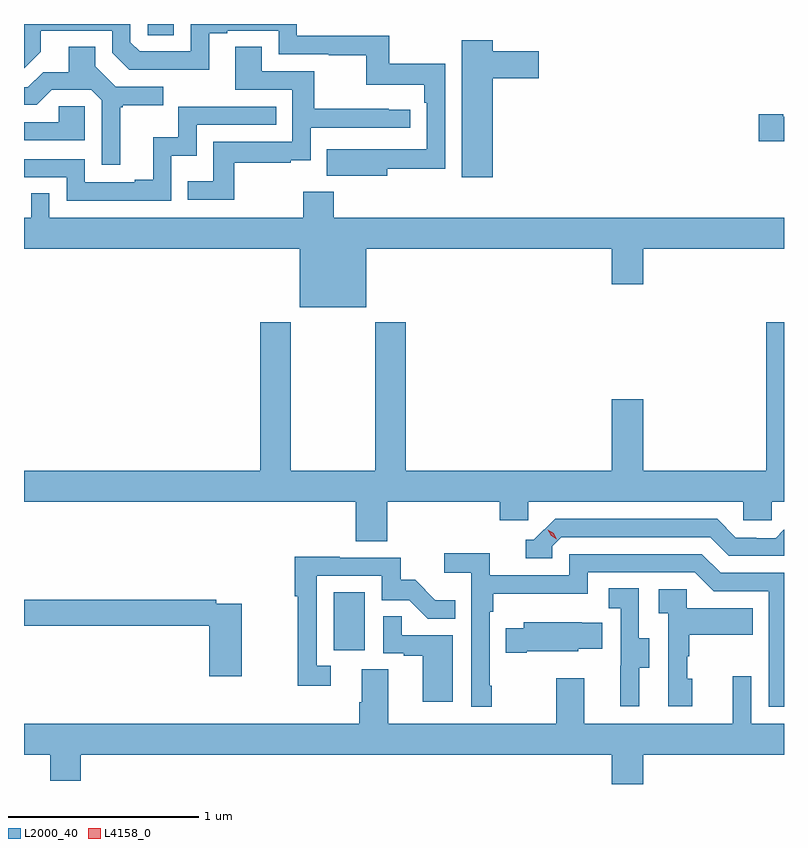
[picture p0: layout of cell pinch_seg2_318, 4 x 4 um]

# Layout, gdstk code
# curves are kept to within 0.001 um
import gdstk
lib = gdstk.Library(unit=1e-6, precision=1e-09)
def R(c, l, rs):  # rectangles x0, y0, x1, y1
    for r in rs: c.add(gdstk.rectangle(r[:2], r[2:], *l))
def P(c, l, *ps):  # polygons
    for p in ps: c.add(gdstk.Polygon(p, *l))
L2000_40 = (2000, 40)
L4158_0 = (4158, 0)

pinch_seg2_318 = lib.new_cell('pinch_seg2_318')
R(pinch_seg2_318, L2000_40, [(906.8,628.206,906.964,628.513), (905.82,631.444,905.959,631.503)])
P(pinch_seg2_318, L2000_40, [(907.081,630.742),(907.386,630.742),(907.386,631.294),(907.093,631.294),(907.093,631.44),(906.606,631.44),(906.606,631.503),(906.048,631.503),(906.048,631.359),(905.778,631.359),(905.73,631.407),(905.73,631.503),(905.17,631.503),(905.17,631.27),(905.257,631.357),(905.257,631.467),(905.634,631.467),(905.634,631.353),(905.724,631.263),(906.145,631.262),(906.145,631.455),(906.241,631.455),(906.241,631.467),(906.51,631.467),(906.51,631.344),(906.775,631.344),(906.775,631.339),(906.972,631.339),(906.972,631.184),(907.277,631.184),(907.277,631.088),(907.29,631.088),(907.29,630.843),(906.763,630.844),(906.763,630.704),(907.081,630.704)],
  [(907.636,631.217),(907.879,631.217),(907.879,631.359),(907.636,631.359),(907.636,631.417),(907.475,631.417),(907.475,630.696),(907.636,630.696)],
  [(906.277,630.774),(906.575,630.774),(906.575,630.785),(906.678,630.785),(906.678,630.957),(907.204,630.957),(907.204,631.053),(907.091,631.053),(907.091,631.058),(906.698,631.058),(906.698,631.254),(906.421,631.254),(906.421,631.382),(906.281,631.382),(906.281,631.158),(906.582,631.158),(906.582,630.882),(906.166,630.882),(906.166,630.676),(906.031,630.676),(906.031,630.579),(906.277,630.579)],
  [(905.677,631.065),(905.689,631.065),(905.689,631.076),(905.902,631.076),(905.902,631.173),(905.652,631.173),(905.545,631.28),(905.545,631.382),(905.405,631.382),(905.405,631.25),(905.27,631.25),(905.19,631.17),(905.17,631.17),(905.17,631.077),(905.236,631.077),(905.317,631.158),(905.523,631.158),(905.58,631.101),(905.58,630.762),(905.677,630.762)],
  [(905.49,631.071),(905.353,631.071),(905.353,630.987),(905.17,630.987),(905.17,630.891),(905.49,630.891)],
  [(905.946,630.809),(906.078,630.809),(906.078,630.972),(906.497,630.972),(906.497,631.068),(905.982,631.068),(905.982,630.907),(905.849,630.907),(905.849,630.682),(905.753,630.682),(905.753,630.669),(905.49,630.669),(905.49,630.792),(905.17,630.792),(905.17,630.696),(905.394,630.696),(905.394,630.573),(905.946,630.573)],
  [(909.17,631.015),(909.165,631.015),(909.165,631.028),(909.036,631.028),(909.036,630.886),(909.17,630.886)],
  [(906.97,630.32),(908.264,630.32),(908.264,630.132),(908.428,630.132),(908.428,630.32),(909.17,630.32),(909.17,630.484),(906.8,630.484),(906.8,630.619),(906.64,630.619),(906.64,630.484),(905.304,630.484),(905.304,630.611),(905.208,630.611),(905.208,630.484),(905.17,630.484),(905.17,630.32),(906.62,630.32),(906.62,630.011),(906.97,630.011)],
  [(906.573,629.932),(906.413,629.932),(906.413,629.152),(905.17,629.152),(905.17,628.988),(906.917,628.988),(906.917,628.78),(907.082,628.78),(907.082,628.988),(907.673,628.988),(907.673,628.89),(907.824,628.89),(907.824,628.988),(908.955,628.988),(908.955,628.89),(909.105,628.89),(909.105,628.988),(909.17,628.988),(909.17,629.932),(909.077,629.932),(909.077,629.152),(908.428,629.152),(908.428,629.527),(908.264,629.527),(908.264,629.152),(907.178,629.152),(907.178,629.932),(907.018,629.932),(907.018,629.152),(906.573,629.152)],
  [(907.95,628.755),(907.998,628.803),(908.781,628.803),(908.88,628.704),(909.169,628.704),(909.17,628.84),(909.127,628.797),(909.024,628.797),(909.024,628.8),(908.917,628.8),(908.818,628.899),(907.965,628.899),(907.854,628.788),(907.811,628.788),(907.811,628.692),(907.95,628.692)],
  [(907.633,628.021),(907.62,628.021),(907.62,628.409),(907.64,628.409),(907.64,628.505),(908.136,628.505),(908.136,628.617),(908.7,628.617),(908.799,628.518),(909.09,628.518),(909.09,627.909),(909.17,627.909),(909.17,628.614),(908.836,628.614),(908.737,628.713),(908.04,628.713),(908.04,628.602),(907.622,628.602),(907.622,628.718),(907.383,628.718),(907.383,628.616),(907.524,628.616),(907.524,627.909),(907.633,627.909)],
  [(906.784,628.125),(906.711,628.125),(906.711,628.599),(907.053,628.599),(907.053,628.47),(907.197,628.47),(907.295,628.372),(907.439,628.372),(907.439,628.471),(907.335,628.471),(907.228,628.578),(907.152,628.578),(907.152,628.695),(906.833,628.695),(906.833,628.7),(906.595,628.7),(906.595,628.492),(906.61,628.492),(906.61,628.02),(906.784,628.02)],
  [(908.407,628.114),(908.461,628.114),(908.461,628.269),(908.406,628.269),(908.406,628.532),(908.247,628.532),(908.247,628.429),(908.31,628.429),(908.31,628.125),(908.309,628.125),(908.309,627.912),(908.407,627.912)],
  [(908.686,628.056),(908.661,628.056),(908.661,628.175),(908.671,628.175),(908.671,628.289),(909.005,628.289),(909.005,628.429),(908.658,628.429),(908.658,628.527),(908.511,628.527),(908.511,628.403),(908.562,628.403),(908.562,627.912),(908.686,627.912)],
  [(906.316,628.452),(906.182,628.452),(906.182,628.472),(905.17,628.472),(905.17,628.336),(906.146,628.336),(906.146,628.071),(906.316,628.071)],
  [(907.426,628.287),(907.157,628.287),(907.157,628.385),(907.062,628.385),(907.062,628.191),(907.169,628.191),(907.169,628.179),(907.268,628.179),(907.268,627.936),(907.426,627.936)],
  [(907.816,628.202),(908.088,628.202),(908.088,628.214),(908.213,628.214),(908.213,628.351),(908.105,628.351),(908.105,628.354),(907.799,628.354),(907.799,628.324),(907.705,628.324),(907.705,628.195),(907.816,628.195)],
  [(908.428,627.656),(909.17,627.656),(909.17,627.82),(908.997,627.82),(908.997,628.069),(908.9,628.069),(908.9,627.82),(908.119,627.82),(908.119,628.06),(907.972,628.06),(907.972,627.82),(907.087,627.82),(907.087,628.106),(906.947,628.106),(906.947,627.932),(906.935,627.932),(906.935,627.82),(905.17,627.82),(905.17,627.656),(905.308,627.656),(905.308,627.521),(905.468,627.521),(905.468,627.656),(908.264,627.656),(908.264,627.503),(908.428,627.503)])
P(pinch_seg2_318, L4158_0, [(907.975,628.79),(907.944,628.809),(907.927,628.841),(907.927,628.841),(907.927,628.841),(907.958,628.822),(907.975,628.79),(907.975,628.79)])

lib.write_gds('pinch_seg2_318.gds')
